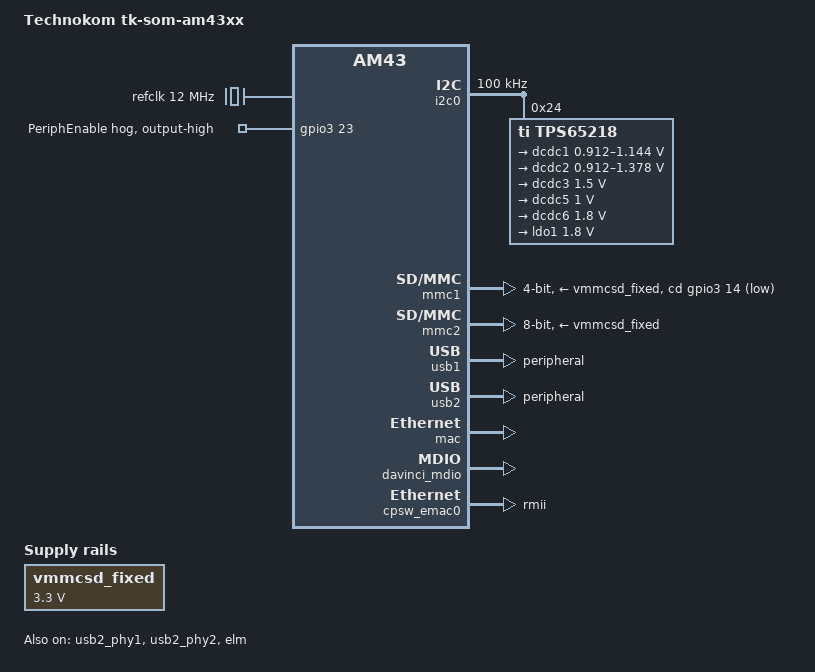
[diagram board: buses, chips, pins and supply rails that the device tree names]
/*
 * Copyright (C) 2013 Texas Instruments Incorporated - http://www.ti.com/
 *
 * This program is free software; you can redistribute it and/or modify
 * it under the terms of the GNU General Public License version 2 as
 * published by the Free Software Foundation.
 */

/* AM437x GP EVM */

/dts-v1/;

#include "am4372.dtsi"

#include <dt-bindings/pinctrl/am43xx.h>
#include <dt-bindings/pwm/pwm.h>
#include <dt-bindings/gpio/gpio.h>

/ {
	model = "Technokom tk-som-am43xx";
	compatible = "technokom,tk-som-am43xx","ti,am4372","ti,am43";

	aliases {

	};

	chosen {
		stdout-path = &uart0;
		tick-timer = &timer2;
	};

	vmmcsd_fixed: fixedregulator-sd {
		compatible = "regulator-fixed";
		regulator-name = "vmmcsd_fixed";
		regulator-min-microvolt = <3300000>;
		regulator-max-microvolt = <3300000>;
		enable-active-high;
	};

	/* fixed 12MHz oscillator */
	refclk: oscillator {
		#clock-cells = <0>;
		compatible = "fixed-clock";
		clock-frequency = <12000000>;
	};

};

&am43xx_pinmux {
	pinctrl-names = "default", "sleep";

	i2c0_pins: i2c0_pins {
		pinctrl-single,pins = <
			0x188 (PIN_INPUT_PULLUP | SLEWCTRL_FAST | MUX_MODE0)  /* i2c0_sda.i2c0_sda */
			0x18c (PIN_INPUT_PULLUP | SLEWCTRL_FAST | MUX_MODE0)  /* i2c0_scl.i2c0_scl */
		>;
	};

	i2c1_pins_default: i2c1_pins_default {
		pinctrl-single,pins = <
			0x240 (PIN_INPUT_PULLUP | MUX_MODE1)  /* (G20) gpio5_10.I2C1_SCL */
			0x248 (PIN_INPUT_PULLUP | MUX_MODE1)  /* (E25) gpio5_12.I2C1_SDA */
		>;
	};

	mmc0_pins: pinmux_mmc0_pins {
		pinctrl-single,pins = <
		    0x190 ( PIN_INPUT | MUX_MODE7) /* (N24) mcasp0_aclkx.mmc0_sdcd */
		>;
	};

	mmc1_pins: pinmux_mmc1_pins {
		pinctrl-single,pins = <
		    0x80 ( PIN_INPUT_PULLUP | MUX_MODE2 ) /* (B9) gpmc_csn1.mmc1_clk */
		    0x84 ( PIN_INPUT_PULLUP | MUX_MODE2 ) /* (F10) gpmc_csn2.mmc1_cmd */
		    0x20 ( PIN_INPUT_PULLUP | MUX_MODE2 ) /* (B10) gpmc_ad8.mmc1_dat0 */
		    0x24 ( PIN_INPUT_PULLUP | MUX_MODE2 ) /* (A10) gpmc_ad9.mmc1_dat1 */
		    0x28 ( PIN_INPUT_PULLUP | MUX_MODE2 ) /* (F11) gpmc_ad10.mmc1_dat2 */
		    0x2c ( PIN_INPUT_PULLUP | MUX_MODE2 ) /* (D11) gpmc_ad11.mmc1_dat3 */
		>;
	};

	cpsw_default: cpsw_default {
		pinctrl-single,pins = <
			0x10c ( PIN_INPUT_PULLUP | MUX_MODE1 ) /* (B14) mii1_crs.rmii1_crs_dv */
			0x110 ( PIN_INPUT_PULLUP | MUX_MODE1 ) /* (B13) mii1_rx_er.rmii1_rxer */
			0x114 ( PIN_OUTPUT_PULLDOWN | MUX_MODE1 ) /* (A13) mii1_tx_en.rmii1_txen */
			0x128 ( PIN_OUTPUT_PULLDOWN | MUX_MODE1 ) /* (B15) mii1_txd0.rmii1_txd0 */
			0x124 ( PIN_OUTPUT_PULLDOWN | MUX_MODE1 ) /* (A14) mii1_txd1.rmii1_txd1 */
			0x140 ( PIN_INPUT_PULLUP | MUX_MODE1 ) /* (F17) mii1_rxd0.rmii1_rxd0 */
			0x13c ( PIN_INPUT_PULLUP | MUX_MODE1 ) /* (B16) mii1_rxd1.rmii1_rxd1 */
			0x144 ( PIN_INPUT_PULLDOWN | MUX_MODE0 ) /* (A16) rmii1_ref_clk.rmii1_refclk */
		>;
	};


	davinci_mdio_default: davinci_mdio_default {
		pinctrl-single,pins = <
			/* MDIO */
			0x148 (PIN_INPUT_PULLUP | SLEWCTRL_FAST | MUX_MODE0)	/* mdio_data.mdio_data */
			0x14c (PIN_OUTPUT_PULLUP | MUX_MODE0)			/* mdio_clk.mdio_clk */
		>;
	};

	periph_pin_enable: periph_pin_enable {
		pinctrl-single,pins = <
	        0x268 (PIN_OUTPUT | MUX_MODE7 )  /* (P20) spi2_d1.gpio3[23] */
		>;
	};

};

&i2c0 {
	status = "okay";
	pinctrl-names = "default";
	pinctrl-0 = <&i2c0_pins>;
	clock-frequency = <100000>;

	tps65218: tps65218@24 {
		reg = <0x24>;
		compatible = "ti,tps65218";
		interrupts = <GIC_SPI 7 IRQ_TYPE_NONE>; /* NMIn */
		interrupt-controller;
		#interrupt-cells = <2>;

		dcdc1: regulator-dcdc1 {
			compatible = "ti,tps65218-dcdc1";
			regulator-name = "vdd_core";
			regulator-min-microvolt = <912000>;
			regulator-max-microvolt = <1144000>;
			regulator-boot-on;
			regulator-always-on;
		};

		dcdc2: regulator-dcdc2 {
			compatible = "ti,tps65218-dcdc2";
			regulator-name = "vdd_mpu";
			regulator-min-microvolt = <912000>;
			regulator-max-microvolt = <1378000>;
			regulator-boot-on;
			regulator-always-on;
		};

		dcdc3: regulator-dcdc3 {
			compatible = "ti,tps65218-dcdc3";
			regulator-name = "vdcdc3";
			regulator-min-microvolt = <1500000>;
			regulator-max-microvolt = <1500000>;
			regulator-boot-on;
			regulator-always-on;
		};
		dcdc5: regulator-dcdc5 {
			compatible = "ti,tps65218-dcdc5";
			regulator-name = "v1_0bat";
			regulator-min-microvolt = <1000000>;
			regulator-max-microvolt = <1000000>;
		};

		dcdc6: regulator-dcdc6 {
			compatible = "ti,tps65218-dcdc6";
			regulator-name = "v1_8bat";
			regulator-min-microvolt = <1800000>;
			regulator-max-microvolt = <1800000>;
		};

		ldo1: regulator-ldo1 {
			compatible = "ti,tps65218-ldo1";
			regulator-min-microvolt = <1800000>;
			regulator-max-microvolt = <1800000>;
			regulator-boot-on;
			regulator-always-on;
		};
	};


};

&gpio0 {
	status = "okay";
};

&gpio1 {
	status = "okay";
};

&gpio3 {
	status = "okay";
	pinctrl-names = "default";
	pinctrl-0 = <&periph_pin_enable>;
    ti,gpio-always-on;
    ti,no-reset-on-init;

	p23 {
		gpio-hog;
		gpios = <23 GPIO_ACTIVE_HIGH>;
		output-high;
		line-name = "PeriphEnable";
	};
};

&gpio4 {
	status = "okay";
};

&gpio5 {
	status = "okay";
};


&mmc1 {
	status = "okay";
	vmmc-supply = <&vmmcsd_fixed>;
	bus-width = <4>;
	pinctrl-names = "default";
	pinctrl-0 = <&mmc0_pins>;
	cd-gpios = <&gpio3 14 GPIO_ACTIVE_LOW>;
};

&mmc2 {
	status = "okay";
	vmmc-supply = <&vmmcsd_fixed>;
	bus-width = <8>;
	pinctrl-names = "default";
	pinctrl-0 = <&mmc1_pins>;
	ti,non-removable;
};

&usb2_phy1 {
    status = "okay";
};

&usb1 {
    dr_mode = "peripheral";
    status = "okay";
};

&usb2_phy2 {
    status = "okay";
};

&usb2 {
	dr_mode = "peripheral";
	status = "okay";
};

&edma {
	ti,edma-xbar-event-map = /bits/ 16 <1 30
					    2 31>;
};

&mac {
	slaves = <1>;
	pinctrl-names = "default";
	pinctrl-0 = <&cpsw_default>;
	status = "okay";
};

&davinci_mdio {
	pinctrl-names = "default";
	pinctrl-0 = <&davinci_mdio_default>;
	status = "okay";
};

&cpsw_emac0 {
	phy_id = <&davinci_mdio>, <7>;
	phy-mode = "rmii";
};

&phy_sel {
	rmii-clock-ext;
};

&elm {
	status = "okay";
};




